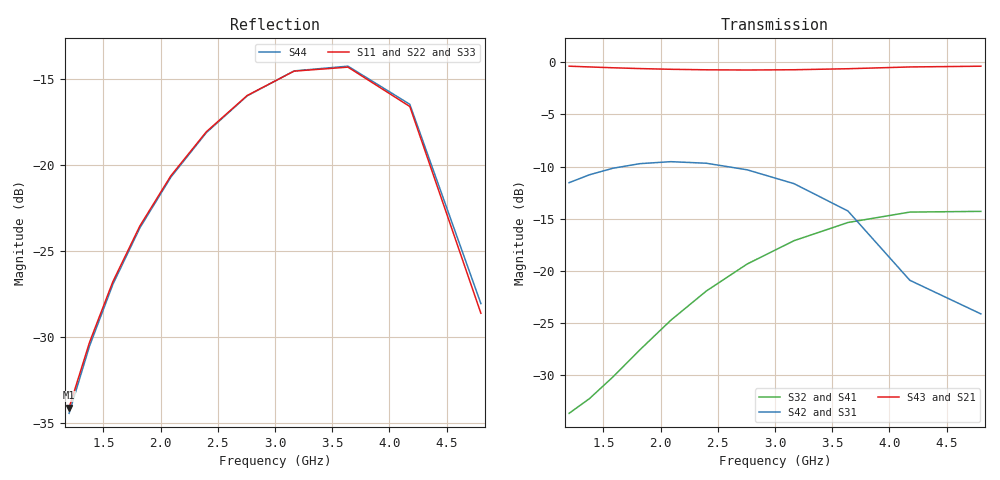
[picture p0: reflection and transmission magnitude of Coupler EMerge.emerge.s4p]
! Generated by circuitRF - EM: EMerge
! circuitRF-EM setup: Coupler EMerge
! circuitRF-EM layout: Coupler.c3d
! circuitRF-EM written: 2026-11-15 23:46:38Z
! circuitRF-EM stamp: 20261115T234638Z-1279af0d
! circuitRF-EM geometry: 4db2ac09d8a3f442
! circuitRF-EM mesh settings: 72fb7a5ae77a5731
! circuitRF-EM ports: 64b3fa3dfd019f7d
! circuitRF-EM model: EMerge 3.0.0
! Port[1] = P1
! Port[2] = P2
! Port[3] = P3
! Port[4] = P4
! circuitRF-EM port 1: 'port/1' from 'U1/Bottom Copper (1 oz)/1' to 'U1/Top Copper (1 oz)/1', lumped, 50 Ohm
! circuitRF-EM port 2: 'port/2' from 'U1/Bottom Copper (1 oz)/1' to 'U1/Top Copper (1 oz)/1', lumped, 50 Ohm
! circuitRF-EM port 3: 'port/3' from 'U1/Bottom Copper (1 oz)/1' to 'U1/Top Copper (1 oz)/2', lumped, 50 Ohm
! circuitRF-EM port 4: 'port/4' from 'U1/Bottom Copper (1 oz)/1' to 'U1/Top Copper (1 oz)/2', lumped, 50 Ohm
! Port 1 = P01  P1  net=?  ref=U1/Bottom Copper (1 oz)/1  uncalibrated
! Port 2 = P02  P2  net=?  ref=U1/Bottom Copper (1 oz)/1  uncalibrated
! Port 3 = P03  P3  net=?  ref=U1/Bottom Copper (1 oz)/1  uncalibrated
! Port 4 = P04  P4  net=?  ref=U1/Bottom Copper (1 oz)/1  uncalibrated
! DC: none, the lowest row is 1.2 GHz; a circuit's DC solve through this file takes that row as DC
! circuitRF-EM 3D mesh: 26782 tetrahedra, element order 2
! circuitRF-EM 3D operating temperature: 20 C
! circuitRF-EM 3D run: preset Standard; 26782 tetrahedra; 184572 unknowns; adaptive sweep, 11 frequency sample(s), estimated error 6.94E-05
! circuitRF-EM 3D run cost: wall 162 s; EMerge peak memory 3.5 GB
! circuitRF-EM: re-running the EM setup rewrites this file. If circuitRF reports it as stale, the layout's cross-section changed after this file was written.
# GHz S RI R 50
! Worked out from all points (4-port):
!   11 points, 1.2 GHz to 4.8 GHz, reference 50 ohm
!   strongest paths, dB at 1.2 GHz, 1.583 GHz, 2.4 GHz, 3.638 GHz, 4.8 GHz:
!     S43: -0.4, -0.5, -0.7, -0.6, -0.4
!     S21: -0.4, -0.5, -0.7, -0.6, -0.4
!     S42: -11.5, -10.2, -9.7, -14.3, -24.1
!     S31: -11.5, -10.2, -9.7, -14.2, -24.1
!     S32: -33.6, -30.2, -21.9, -15.4, -14.3
!     S41: -33.7, -30.2, -21.9, -15.4, -14.3
!   lowest |S11| = -34.1 dB at 1.2 GHz (marker M1), VSWR 1.04, Z = 48.2 - j0.826 ohm
!   |S11| at or under -10 dB: start of sweep to end of sweep
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1.2  -0.0178 -0.00856  -0.1446 -0.9472  0.2622 -0.0379  -0.0206 -0.00274
     -0.1445 -0.9472  -0.0176 -0.00748  -0.0206 -0.00281  0.2623 -0.0378
     0.2622 -0.0378  -0.0206 -0.00281  -0.0175 -0.00871  -0.1449 -0.9472
     -0.0206 -0.00274  0.2623 -0.0378  -0.1452 -0.9471  -0.0174 -0.00771
2.089321  -0.035 0.0862  -0.9096 -0.172  0.0696 -0.3267  -0.045 0.0363
          -0.9096 -0.1721  -0.0333 0.0864  -0.0452 0.0365  0.0697 -0.3268
          0.0698 -0.3267  -0.0452 0.0365  -0.0342 0.0853  -0.9098 -0.1714
          -0.045 0.0363  0.0697 -0.3267  -0.9098 -0.171  -0.0338 0.0857
2.756876  0.0867 0.1333  -0.6846 0.6122  -0.1875 -0.2411  0.0175 0.1063
          -0.6848 0.612  0.0876 0.1325  0.0178 0.1066  -0.1877 -0.2409
          -0.1873 -0.2413  0.0177 0.1066  0.0876 0.1316  -0.6841 0.6128
          0.0175 0.1063  -0.1877 -0.2409  -0.6837 0.6133  0.0868 0.1328
3.166819  0.1714 0.0752  -0.2521 0.886  -0.242 -0.1011  0.1066 0.0899
          -0.2523 0.886  0.1717 0.0745  0.107 0.0899  -0.242 -0.1006
          -0.2419 -0.1014  0.1069 0.09  0.1721 0.0729  -0.2512 0.8863
          0.1065 0.09  -0.242 -0.1006  -0.2504 0.8865  0.1716 0.0755
3.63772  0.1858 -0.0494  0.3422 0.8665  -0.191 0.0354  0.1691 -0.0211
         0.342 0.8666  0.1859 -0.0499  0.1694 -0.0215  -0.1905 0.036
         -0.1911 0.0351  0.1694 -0.0213  0.186 -0.0524  0.3432 0.866
         0.1692 -0.021  -0.1905 0.036  0.3439 0.8657  0.1871 -0.049
4.178643  0.0733 -0.1283  0.8646 0.3942  -0.0631 0.0656  0.094 -0.1668
          0.8644 0.3945  0.0731 -0.1288  0.0937 -0.1671  -0.0618 0.0658
          -0.0632 0.0655  0.0939 -0.167  0.0724 -0.1315  0.8648 0.3932
          0.094 -0.1667  -0.0618 0.0658  0.8652 0.3923  0.0751 -0.1298
4.8  -0.014 -0.0344  0.8493 -0.4427  -0.0363 -0.0508  -0.0864 -0.1727
     0.8495 -0.4424  -0.0149 -0.0344  -0.0866 -0.1726  -0.0347 -0.0517
     -0.0362 -0.0509  -0.0863 -0.1727  -0.0155 -0.0369  0.8489 -0.4436
     -0.0863 -0.1727  -0.0347 -0.0517  0.8483 -0.4447  -0.015 -0.0366
